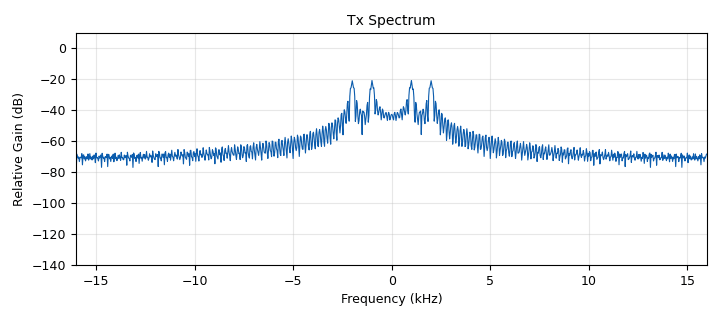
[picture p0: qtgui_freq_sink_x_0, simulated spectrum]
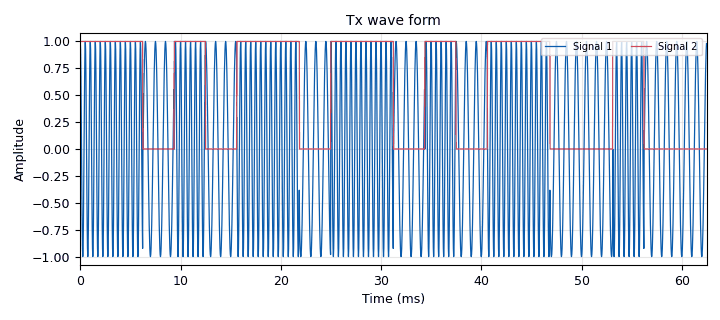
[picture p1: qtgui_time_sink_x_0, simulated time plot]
options:
  parameters:
    author: year2
    generate_options: qt_gui
    id: Sudarshan_3_lab_10
    output_language: python
    title: Not titled yet
  states: {}

blocks:
- name: samp_rate
  id: variable
  parameters:
    value: '32000'
  states: {}
- name: analog_const_source_x_1
  id: analog_const_source_x
  parameters:
    const: '1'
    type: float
  states: {}
- name: analog_random_source_x_0
  id: analog_random_source_x
  parameters:
    max: '2'
    min: '0'
    num_samps: '1000'
    repeat: 'True'
    type: byte
  states: {}
- name: analog_sig_source_x_0
  id: analog_sig_source_x
  parameters:
    amp: '1'
    freq: '2000'
    offset: '0'
    phase: '0'
    samp_rate: '32000'
    type: float
    waveform: analog.GR_COS_WAVE
  states: {}
- name: analog_sig_source_x_1
  id: analog_sig_source_x
  parameters:
    amp: '1'
    freq: '1000'
    offset: '0'
    phase: '0'
    samp_rate: '32000'
    type: float
    waveform: analog.GR_COS_WAVE
  states: {}
- name: blocks_add_xx_0
  id: blocks_add_xx
  parameters:
    type: float
  states: {}
- name: blocks_char_to_float_0
  id: blocks_char_to_float
  parameters:
    scale: '1'
  states: {}
- name: blocks_multiply_xx_0
  id: blocks_multiply_xx
  parameters:
    type: float
  states: {}
- name: blocks_multiply_xx_0_0
  id: blocks_multiply_xx
  parameters:
    type: float
  states: {}
- name: blocks_repeat_0
  id: blocks_repeat
  parameters:
    interp: '100'
    type: byte
  states: {}
- name: blocks_sub_xx_0
  id: blocks_sub_xx
  parameters:
    type: float
  states: {}
- name: blocks_throttle2_0
  id: blocks_throttle2
  parameters:
    samples_per_second: samp_rate
    type: float
  states: {}
- name: note_1
  id: note
  parameters:
    note: FSK Modulation
  states: {}
- name: qtgui_freq_sink_x_0
  id: qtgui_freq_sink_x
  parameters:
    bw: samp_rate
    fc: '0'
    fftsize: '1024'
    name: Tx Spectrum
    type: float
  states: {}
- name: qtgui_time_sink_x_0
  id: qtgui_time_sink_x
  parameters:
    name: Tx wave form
    nconnections: '2'
    size: '2000'
    srate: samp_rate
    type: float
  states: {}

connections:
- [analog_const_source_x_1, '0', blocks_sub_xx_0, '0']
- [analog_random_source_x_0, '0', blocks_repeat_0, '0']
- [analog_sig_source_x_0, '0', blocks_multiply_xx_0_0, '0']
- [analog_sig_source_x_1, '0', blocks_multiply_xx_0, '1']
- [blocks_add_xx_0, '0', blocks_throttle2_0, '0']
- [blocks_add_xx_0, '0', qtgui_time_sink_x_0, '0']
- [blocks_char_to_float_0, '0', blocks_multiply_xx_0_0, '1']
- [blocks_char_to_float_0, '0', blocks_sub_xx_0, '1']
- [blocks_char_to_float_0, '0', qtgui_time_sink_x_0, '1']
- [blocks_multiply_xx_0, '0', blocks_add_xx_0, '1']
- [blocks_multiply_xx_0_0, '0', blocks_add_xx_0, '0']
- [blocks_repeat_0, '0', blocks_char_to_float_0, '0']
- [blocks_sub_xx_0, '0', blocks_multiply_xx_0, '0']
- [blocks_throttle2_0, '0', qtgui_freq_sink_x_0, '0']

metadata:
  file_format: 1
  grc_version: 3.10.12.0
